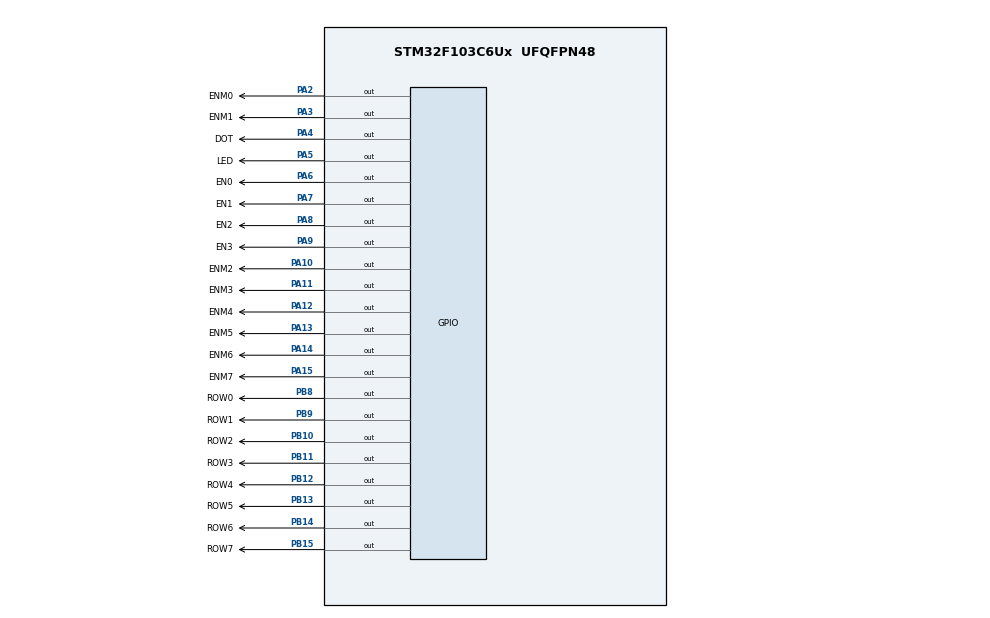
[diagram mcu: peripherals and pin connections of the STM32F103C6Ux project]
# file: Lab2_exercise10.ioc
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Mcu.Family=STM32F1
Mcu.Name=STM32F103C6Ux
Mcu.Package=UFQFPN48
NVIC.PriorityGroup=NVIC_PRIORITYGROUP_4
NVIC.TIM2_IRQn=true\:0\:0\:false\:false\:true\:true\:true
PA10.GPIO_Label=ENM2
PA10.Signal=GPIO_Output
PA11.GPIO_Label=ENM3
PA11.Signal=GPIO_Output
PA12.GPIO_Label=ENM4
PA12.Signal=GPIO_Output
PA13.GPIO_Label=ENM5
PA13.Signal=GPIO_Output
PA14.GPIO_Label=ENM6
PA14.Signal=GPIO_Output
PA15.GPIO_Label=ENM7
PA15.Signal=GPIO_Output
PA2.GPIO_Label=ENM0
PA2.Signal=GPIO_Output
PA3.GPIO_Label=ENM1
PA3.Signal=GPIO_Output
PA4.GPIO_Label=DOT
PA4.Signal=GPIO_Output
PA5.GPIO_Label=LED
PA5.Signal=GPIO_Output
PA6.GPIO_Label=EN0
PA6.Signal=GPIO_Output
PA7.GPIO_Label=EN1
PA7.Signal=GPIO_Output
PA8.GPIO_Label=EN2
PA8.Signal=GPIO_Output
PA9.GPIO_Label=EN3
PA9.Signal=GPIO_Output
PB10.GPIO_Label=ROW2
PB10.Signal=GPIO_Output
PB11.GPIO_Label=ROW3
PB11.Signal=GPIO_Output
PB12.GPIO_Label=ROW4
PB12.Signal=GPIO_Output
PB13.GPIO_Label=ROW5
PB13.Signal=GPIO_Output
PB14.GPIO_Label=ROW6
PB14.Signal=GPIO_Output
PB15.GPIO_Label=ROW7
PB15.Signal=GPIO_Output
PB8.GPIO_Label=ROW0
PB8.Signal=GPIO_Output
PB9.GPIO_Label=ROW1
PB9.Signal=GPIO_Output
ProjectManager.HeapSize=0x200
ProjectManager.StackSize=0x400
ProjectManager.TargetToolchain=STM32CubeIDE
RCC.APB1Freq_Value=8000000
RCC.APB2Freq_Value=8000000
TIM2.Period=4
TIM2.Prescaler=7999
VP_SYS_VS_ND.Mode=No_Debug
VP_TIM2_VS_ClockSourceINT.Mode=Internal
board=custom

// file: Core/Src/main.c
/* USER CODE BEGIN Header */
/**
  ******************************************************************************
  * @file           : main.c
  * @brief          : Main program body
  ******************************************************************************
  * @attention
  *
  * <h2><center>&copy; Copyright (c) 2025 STMicroelectronics.
  * All rights reserved.</center></h2>
  *
  * This software component is licensed by ST under BSD 3-Clause license,
  * the "License"; You may not use this file except in compliance with the
  * License. You may obtain a copy of the License at:
  *                        opensource.org/licenses/BSD-3-Clause
  *
  ******************************************************************************
  */
/* USER CODE END Header */
#include "main.h"
#include "Ex10_test.h"

TIM_HandleTypeDef htim2;

void SystemClock_Config(void);
static void MX_GPIO_Init(void);
static void MX_TIM2_Init(void);

/* USER CODE BEGIN 0 */
int timer0_counter = 0;
int timer0_flag = 0;
int TIMER_CYCLE = 5;

void setTimer0(int duration){
	timer0_counter = duration / TIMER_CYCLE ;
	timer0_flag = 0;
}

void timer_run () {
	if( timer0_counter > 0) {
		timer0_counter--;
		if( timer0_counter == 0) timer0_flag = 1;	//Expired
	}
}

//--------------------------------------------------------------------------------
int timer1_counter = 0;
int timer1_flag = 0;

int timer2_counter = 0;
int timer2_flag = 0;

void setTimer1(int duration){
	timer1_counter = duration;
	timer1_flag = 0;
}

void timerRun1(){
	if (timer1_counter > 0){
		timer1_counter--;
		if (timer1_counter <= 0){
			timer1_flag = 1;
		}
	}
}

void setTimer2(int duration){
	timer2_counter = duration;
	timer2_flag = 0;
}

void timerRun2(){
	if (timer2_counter > 0){
		timer2_counter--;
		if (timer2_counter <= 0){
			timer2_flag = 1;
		}
	}
}
/* USER CODE END 0 */

int main(void)
{

  /* MCU Configuration--------------------------------------------------------*/

  /* Reset of all peripherals, Initializes the Flash interface and the Systick. */
  HAL_Init();

  /* Configure the system clock */
  SystemClock_Config();

  /* Initialize all configured peripherals */
  MX_GPIO_Init();
  MX_TIM2_Init();
  /* USER CODE BEGIN 2 */
  HAL_TIM_Base_Start_IT(&htim2);
  /* USER CODE END 2 */

  /* Infinite loop */
  /* USER CODE BEGIN WHILE */

    setTimer1(400);
    setTimer2(1);

  while (1)
  {
    /* USER CODE END WHILE */
	  /*
	  if (timer0_flag == 1) {
		  setTimer0(10);

		  updateLEDMatrix(index_led_matrix);
		  index_led_matrix++;
	  	  if (index_led_matrix >= MAX_LED_MATRIX) index_led_matrix = 0;

	  }

	  if (timer1_flag == 1) {
	          setTimer1(200);
	          shiftLeft();
	      }
	      */
	  //Update clock buffer

	  	  	//Red led - 0.5s
	  	  	if (timer1_flag == 1){
	  	  		HAL_GPIO_TogglePin(LED_GPIO_Port, LED_Pin);
	  	  		shiftMatrixUp();
	  	  		setTimer1(200);
	  	  	}
	  	  	//Update Matrix
	  	  	if (timer2_flag == 1) {
	  	  		static int col = 0;
	  	  		updateLEDMatrix(col++);
	  	  		if (col >= 8) col = 0;
	  	  	    setTimer2(1);
	  	  	}

  }
}

void SystemClock_Config(void)
{
  RCC_OscInitTypeDef RCC_OscInitStruct = {0};
  RCC_ClkInitTypeDef RCC_ClkInitStruct = {0};

  /** Initializes the RCC Oscillators according to the specified parameters
  * in the RCC_OscInitTypeDef structure.
  */
  RCC_OscInitStruct.OscillatorType = RCC_OSCILLATORTYPE_HSI;
  RCC_OscInitStruct.HSIState = RCC_HSI_ON;
  RCC_OscInitStruct.HSICalibrationValue = RCC_HSICALIBRATION_DEFAULT;
  RCC_OscInitStruct.PLL.PLLState = RCC_PLL_NONE;
  if (HAL_RCC_OscConfig(&RCC_OscInitStruct) != HAL_OK)
  {
    Error_Handler();
  }
  /** Initializes the CPU, AHB and APB buses clocks
  */
  RCC_ClkInitStruct.ClockType = RCC_CLOCKTYPE_HCLK|RCC_CLOCKTYPE_SYSCLK
                              |RCC_CLOCKTYPE_PCLK1|RCC_CLOCKTYPE_PCLK2;
  RCC_ClkInitStruct.SYSCLKSource = RCC_SYSCLKSOURCE_HSI;
  RCC_ClkInitStruct.AHBCLKDivider = RCC_SYSCLK_DIV1;
  RCC_ClkInitStruct.APB1CLKDivider = RCC_HCLK_DIV1;
  RCC_ClkInitStruct.APB2CLKDivider = RCC_HCLK_DIV1;

  if (HAL_RCC_ClockConfig(&RCC_ClkInitStruct, FLASH_LATENCY_0) != HAL_OK)
  {
    Error_Handler();
  }
}

static void MX_TIM2_Init(void)
{

  TIM_ClockConfigTypeDef sClockSourceConfig = {0};
  TIM_MasterConfigTypeDef sMasterConfig = {0};

  htim2.Instance = TIM2;
  htim2.Init.Prescaler = 7999;
  htim2.Init.CounterMode = TIM_COUNTERMODE_UP;
  htim2.Init.Period = 4;
  htim2.Init.ClockDivision = TIM_CLOCKDIVISION_DIV1;
  htim2.Init.AutoReloadPreload = TIM_AUTORELOAD_PRELOAD_DISABLE;
  if (HAL_TIM_Base_Init(&htim2) != HAL_OK)
  {
    Error_Handler();
  }
  sClockSourceConfig.ClockSource = TIM_CLOCKSOURCE_INTERNAL;
  if (HAL_TIM_ConfigClockSource(&htim2, &sClockSourceConfig) != HAL_OK)
  {
    Error_Handler();
  }
  sMasterConfig.MasterOutputTrigger = TIM_TRGO_RESET;
  sMasterConfig.MasterSlaveMode = TIM_MASTERSLAVEMODE_DISABLE;
  if (HAL_TIMEx_MasterConfigSynchronization(&htim2, &sMasterConfig) != HAL_OK)
  {
    Error_Handler();
  }

}

static void MX_GPIO_Init(void)
{
  GPIO_InitTypeDef GPIO_InitStruct = {0};

  /* GPIO Ports Clock Enable */
  __HAL_RCC_GPIOA_CLK_ENABLE();
  __HAL_RCC_GPIOB_CLK_ENABLE();

  /*Configure GPIO pin Output Level */
  HAL_GPIO_WritePin(GPIOA, ENM0_Pin|ENM1_Pin|DOT_Pin|LED_Pin
                          |EN0_Pin|EN1_Pin|EN2_Pin|EN3_Pin
                          |ENM2_Pin|ENM3_Pin|ENM4_Pin|ENM5_Pin
                          |ENM6_Pin|ENM7_Pin, GPIO_PIN_RESET);

  /*Configure GPIO pin Output Level */
  HAL_GPIO_WritePin(GPIOB, ROW2_Pin|ROW3_Pin|ROW4_Pin|ROW5_Pin
                          |ROW6_Pin|ROW7_Pin|ROW0_Pin|ROW1_Pin, GPIO_PIN_RESET);

  /*Configure GPIO pins : ENM0_Pin ENM1_Pin DOT_Pin LED_Pin
                           EN0_Pin EN1_Pin EN2_Pin EN3_Pin
                           ENM2_Pin ENM3_Pin ENM4_Pin ENM5_Pin
                           ENM6_Pin ENM7_Pin */
  GPIO_InitStruct.Pin = ENM0_Pin|ENM1_Pin|DOT_Pin|LED_Pin
                          |EN0_Pin|EN1_Pin|EN2_Pin|EN3_Pin
                          |ENM2_Pin|ENM3_Pin|ENM4_Pin|ENM5_Pin
                          |ENM6_Pin|ENM7_Pin;
  GPIO_InitStruct.Mode = GPIO_MODE_OUTPUT_PP;
  GPIO_InitStruct.Pull = GPIO_NOPULL;
  GPIO_InitStruct.Speed = GPIO_SPEED_FREQ_LOW;
  HAL_GPIO_Init(GPIOA, &GPIO_InitStruct);

  /*Configure GPIO pins : ROW2_Pin ROW3_Pin ROW4_Pin ROW5_Pin
                           ROW6_Pin ROW7_Pin ROW0_Pin ROW1_Pin */
  GPIO_InitStruct.Pin = ROW2_Pin|ROW3_Pin|ROW4_Pin|ROW5_Pin
                          |ROW6_Pin|ROW7_Pin|ROW0_Pin|ROW1_Pin;
  GPIO_InitStruct.Mode = GPIO_MODE_OUTPUT_PP;
  GPIO_InitStruct.Pull = GPIO_NOPULL;
  GPIO_InitStruct.Speed = GPIO_SPEED_FREQ_LOW;
  HAL_GPIO_Init(GPIOB, &GPIO_InitStruct);

}

/* USER CODE BEGIN 4 */
void HAL_TIM_PeriodElapsedCallback(TIM_HandleTypeDef *htim)
{

	timer_run();
	timerRun1();
	timerRun2();
}
/* USER CODE END 4 */

void Error_Handler(void)
{
  __disable_irq();
  while (1)
  {
  }
}

/************************ (C) COPYRIGHT STMicroelectronics *****END OF FILE****/
